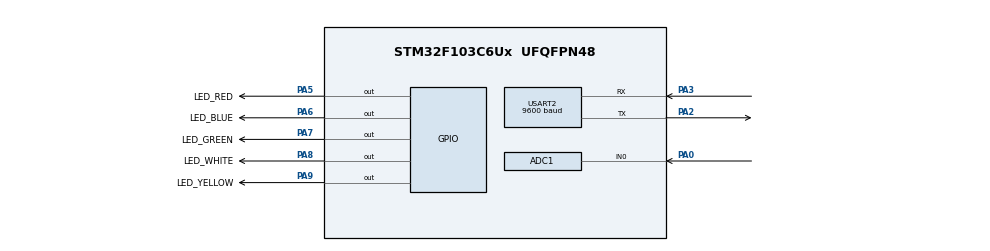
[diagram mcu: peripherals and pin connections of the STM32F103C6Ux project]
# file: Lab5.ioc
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ADC1.Channel-0\#ChannelRegularConversion=ADC_CHANNEL_0
ADC1.ContinuousConvMode=ENABLE
ADC1.NbrOfConversionFlag=1
ADC1.Rank-0\#ChannelRegularConversion=1
ADC1.SamplingTime-0\#ChannelRegularConversion=ADC_SAMPLETIME_1CYCLE_5
ADC1.master=1
Mcu.Family=STM32F1
Mcu.Name=STM32F103C6Ux
Mcu.Package=UFQFPN48
NVIC.ADC1_2_IRQn=true\:0\:0\:false\:false\:true\:true\:true
NVIC.PriorityGroup=NVIC_PRIORITYGROUP_4
NVIC.TIM2_IRQn=true\:0\:0\:false\:false\:true\:true\:true
NVIC.USART2_IRQn=true\:0\:0\:false\:false\:true\:true\:true
PA0-WKUP.Signal=ADCx_IN0
PA2.Mode=Asynchronous
PA2.Signal=USART2_TX
PA3.Mode=Asynchronous
PA3.Signal=USART2_RX
PA5.GPIO_Label=LED_RED
PA5.Signal=GPIO_Output
PA6.GPIO_Label=LED_BLUE
PA6.Signal=GPIO_Output
PA7.GPIO_Label=LED_GREEN
PA7.Signal=GPIO_Output
PA8.GPIO_Label=LED_WHITE
PA8.Signal=GPIO_Output
PA9.GPIO_Label=LED_YELLOW
PA9.Signal=GPIO_Output
ProjectManager.HeapSize=0x200
ProjectManager.StackSize=0x400
ProjectManager.TargetToolchain=STM32CubeIDE
RCC.APB1Freq_Value=8000000
RCC.APB2Freq_Value=8000000
SH.ADCx_IN0.0=ADC1_IN0,IN0
TIM2.Period=9
TIM2.Prescaler=7999
USART2.BaudRate=9600
USART2.VirtualMode=VM_ASYNC
VP_SYS_VS_ND.Mode=No_Debug
VP_TIM2_VS_ClockSourceINT.Mode=Internal
board=custom

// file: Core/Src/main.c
/* USER CODE BEGIN Header */
/**
  ******************************************************************************
  * @file           : main.c
  * @brief          : Main program body
  ******************************************************************************
  * @attention
  *
  * <h2><center>&copy; Copyright (c) 2023 STMicroelectronics.
  * All rights reserved.</center></h2>
  *
  * This software component is licensed by ST under BSD 3-Clause license,
  * the "License"; You may not use this file except in compliance with the
  * License. You may obtain a copy of the License at:
  *                        opensource.org/licenses/BSD-3-Clause
  *
  ******************************************************************************
  */
/* USER CODE END Header */
#include "main.h"

/* USER CODE BEGIN Includes */
#include "global.h"
#include "software_timer.h"
#include "command_parser_fsm.h"
#include "uart_communication_fsm.h"
#include "scheduler.h"
/* USER CODE END Includes */

ADC_HandleTypeDef hadc1;

TIM_HandleTypeDef htim2;

UART_HandleTypeDef huart2;

void SystemClock_Config(void);
static void MX_TIM2_Init(void);
static void MX_GPIO_Init(void);
static void MX_ADC1_Init(void);
static void MX_USART2_UART_Init(void);

/* USER CODE BEGIN 0 */
void HAL_UART_RxCpltCallback ( UART_HandleTypeDef * huart ) {
	if (huart -> Instance == USART2){
		buffer[index_buffer++] = temp;
		if(index_buffer == MAX_BUFFER_SIZE) index_buffer = 0;
		buffer_flag = 1;
		HAL_UART_Transmit(&huart2, &temp, 1, 50);
		HAL_UART_Receive_IT(&huart2, &temp, 1);
	}
}
void getTR(){timerRun();}
void initTasks(void){ // Off
	HAL_GPIO_WritePin(LED_RED_GPIO_Port, LED_RED_Pin, 0);
	HAL_GPIO_WritePin(LED_BLUE_GPIO_Port, LED_BLUE_Pin, 0);
	HAL_GPIO_WritePin(LED_GREEN_GPIO_Port, LED_GREEN_Pin, 0);
	HAL_GPIO_WritePin(LED_WHITE_GPIO_Port, LED_WHITE_Pin, 0);
	HAL_GPIO_WritePin(LED_YELLOW_GPIO_Port, LED_YELLOW_Pin, 0);
}
void led1test(){
	HAL_GPIO_TogglePin(LED_RED_GPIO_Port, LED_RED_Pin);
}
void led2test(){
	HAL_GPIO_TogglePin(LED_BLUE_GPIO_Port,LED_BLUE_Pin);
}
void led3test(){
	HAL_GPIO_TogglePin(LED_GREEN_GPIO_Port, LED_GREEN_Pin);
}
void led4test(){
	HAL_GPIO_TogglePin(LED_WHITE_GPIO_Port, LED_WHITE_Pin);
}
void led5testoneshot(){
	HAL_GPIO_TogglePin(LED_YELLOW_GPIO_Port, LED_YELLOW_Pin);
}
void fsmRun(){
	  if (buffer_flag == 1){
		  command_parser_fsm();
		  buffer_flag = 0;
	  }
	  uart_communication_fsm();
}
/* USER CODE END 0 */

int main(void)
{
  /* USER CODE BEGIN 1 */
	parser_status = START_PARSER;
	uart_status = WAIT_COMMAND;
  /* USER CODE END 1 */

  /* MCU Configuration--------------------------------------------------------*/

  /* Reset of all peripherals, Initializes the Flash interface and the Systick. */
  HAL_Init();

  /* Configure the system clock */
  SystemClock_Config();

  /* Initialize all configured peripherals */
  MX_TIM2_Init();
  MX_GPIO_Init();
  MX_ADC1_Init();
  MX_USART2_UART_Init();
  /* USER CODE BEGIN 2 */
  HAL_TIM_Base_Start_IT(&htim2);
  HAL_ADC_Start(&hadc1);
  HAL_UART_Receive_IT (&huart2 , & temp , 1) ;
  /* USER CODE END 2 */

  /* Infinite loop */
  /* USER CODE BEGIN WHILE */
  SCH_Init();
  SCH_Add_Task(initTasks, 10, 0);
  SCH_Add_Task(getTR, 0, 10);
  SCH_Add_Task(led1test, 0, 250);
  SCH_Add_Task(led2test, 0, 500);
  SCH_Add_Task(led3test, 0, 750);
  SCH_Add_Task(led4test, 0, 1000);
  SCH_Add_Task(fsmRun, 0, 10);

  SCH_Add_Task(led5testoneshot, 1250, 0);
  while (1)
  {
    /* USER CODE END WHILE */
	  SCH_Dispatch_Tasks();
  }
}

void SystemClock_Config(void)
{
  RCC_OscInitTypeDef RCC_OscInitStruct = {0};
  RCC_ClkInitTypeDef RCC_ClkInitStruct = {0};
  RCC_PeriphCLKInitTypeDef PeriphClkInit = {0};

  /** Initializes the RCC Oscillators according to the specified parameters
  * in the RCC_OscInitTypeDef structure.
  */
  RCC_OscInitStruct.OscillatorType = RCC_OSCILLATORTYPE_HSI;
  RCC_OscInitStruct.HSIState = RCC_HSI_ON;
  RCC_OscInitStruct.HSICalibrationValue = RCC_HSICALIBRATION_DEFAULT;
  RCC_OscInitStruct.PLL.PLLState = RCC_PLL_NONE;
  if (HAL_RCC_OscConfig(&RCC_OscInitStruct) != HAL_OK)
  {
    Error_Handler();
  }
  /** Initializes the CPU, AHB and APB buses clocks
  */
  RCC_ClkInitStruct.ClockType = RCC_CLOCKTYPE_HCLK|RCC_CLOCKTYPE_SYSCLK
                              |RCC_CLOCKTYPE_PCLK1|RCC_CLOCKTYPE_PCLK2;
  RCC_ClkInitStruct.SYSCLKSource = RCC_SYSCLKSOURCE_HSI;
  RCC_ClkInitStruct.AHBCLKDivider = RCC_SYSCLK_DIV1;
  RCC_ClkInitStruct.APB1CLKDivider = RCC_HCLK_DIV1;
  RCC_ClkInitStruct.APB2CLKDivider = RCC_HCLK_DIV1;

  if (HAL_RCC_ClockConfig(&RCC_ClkInitStruct, FLASH_LATENCY_0) != HAL_OK)
  {
    Error_Handler();
  }
  PeriphClkInit.PeriphClockSelection = RCC_PERIPHCLK_ADC;
  PeriphClkInit.AdcClockSelection = RCC_ADCPCLK2_DIV2;
  if (HAL_RCCEx_PeriphCLKConfig(&PeriphClkInit) != HAL_OK)
  {
    Error_Handler();
  }
}

static void MX_ADC1_Init(void)
{

  ADC_ChannelConfTypeDef sConfig = {0};

  /** Common config
  */
  hadc1.Instance = ADC1;
  hadc1.Init.ScanConvMode = ADC_SCAN_DISABLE;
  hadc1.Init.ContinuousConvMode = ENABLE;
  hadc1.Init.DiscontinuousConvMode = DISABLE;
  hadc1.Init.ExternalTrigConv = ADC_SOFTWARE_START;
  hadc1.Init.DataAlign = ADC_DATAALIGN_RIGHT;
  hadc1.Init.NbrOfConversion = 1;
  if (HAL_ADC_Init(&hadc1) != HAL_OK)
  {
    Error_Handler();
  }
  /** Configure Regular Channel
  */
  sConfig.Channel = ADC_CHANNEL_0;
  sConfig.Rank = ADC_REGULAR_RANK_1;
  sConfig.SamplingTime = ADC_SAMPLETIME_1CYCLE_5;
  if (HAL_ADC_ConfigChannel(&hadc1, &sConfig) != HAL_OK)
  {
    Error_Handler();
  }

}

static void MX_TIM2_Init(void)
{

  TIM_ClockConfigTypeDef sClockSourceConfig = {0};
  TIM_MasterConfigTypeDef sMasterConfig = {0};

  htim2.Instance = TIM2;
  htim2.Init.Prescaler = 7999;
  htim2.Init.CounterMode = TIM_COUNTERMODE_UP;
  htim2.Init.Period = 9;
  htim2.Init.ClockDivision = TIM_CLOCKDIVISION_DIV1;
  htim2.Init.AutoReloadPreload = TIM_AUTORELOAD_PRELOAD_DISABLE;
  if (HAL_TIM_Base_Init(&htim2) != HAL_OK)
  {
    Error_Handler();
  }
  sClockSourceConfig.ClockSource = TIM_CLOCKSOURCE_INTERNAL;
  if (HAL_TIM_ConfigClockSource(&htim2, &sClockSourceConfig) != HAL_OK)
  {
    Error_Handler();
  }
  sMasterConfig.MasterOutputTrigger = TIM_TRGO_RESET;
  sMasterConfig.MasterSlaveMode = TIM_MASTERSLAVEMODE_DISABLE;
  if (HAL_TIMEx_MasterConfigSynchronization(&htim2, &sMasterConfig) != HAL_OK)
  {
    Error_Handler();
  }

}

static void MX_USART2_UART_Init(void)
{

  huart2.Instance = USART2;
  huart2.Init.BaudRate = 9600;
  huart2.Init.WordLength = UART_WORDLENGTH_8B;
  huart2.Init.StopBits = UART_STOPBITS_1;
  huart2.Init.Parity = UART_PARITY_NONE;
  huart2.Init.Mode = UART_MODE_TX_RX;
  huart2.Init.HwFlowCtl = UART_HWCONTROL_NONE;
  huart2.Init.OverSampling = UART_OVERSAMPLING_16;
  if (HAL_UART_Init(&huart2) != HAL_OK)
  {
    Error_Handler();
  }

}

static void MX_GPIO_Init(void)
{
  GPIO_InitTypeDef GPIO_InitStruct = {0};

  /* GPIO Ports Clock Enable */
  __HAL_RCC_GPIOA_CLK_ENABLE();

  /*Configure GPIO pin Output Level */
  HAL_GPIO_WritePin(GPIOA, LED_RED_Pin|LED_BLUE_Pin|LED_GREEN_Pin|LED_WHITE_Pin
                          |LED_YELLOW_Pin, GPIO_PIN_RESET);

  /*Configure GPIO pins : LED_RED_Pin LED_BLUE_Pin LED_GREEN_Pin LED_WHITE_Pin
                           LED_YELLOW_Pin */
  GPIO_InitStruct.Pin = LED_RED_Pin|LED_BLUE_Pin|LED_GREEN_Pin|LED_WHITE_Pin
                          |LED_YELLOW_Pin;
  GPIO_InitStruct.Mode = GPIO_MODE_OUTPUT_PP;
  GPIO_InitStruct.Pull = GPIO_NOPULL;
  GPIO_InitStruct.Speed = GPIO_SPEED_FREQ_LOW;
  HAL_GPIO_Init(GPIOA, &GPIO_InitStruct);

}

/* USER CODE BEGIN 4 */
void HAL_TIM_PeriodElapsedCallback(TIM_HandleTypeDef *htim){
	SCH_Update();
}
/* USER CODE END 4 */

void Error_Handler(void)
{
  __disable_irq();
  while (1)
  {
  }
}

/************************ (C) COPYRIGHT STMicroelectronics *****END OF FILE****/
